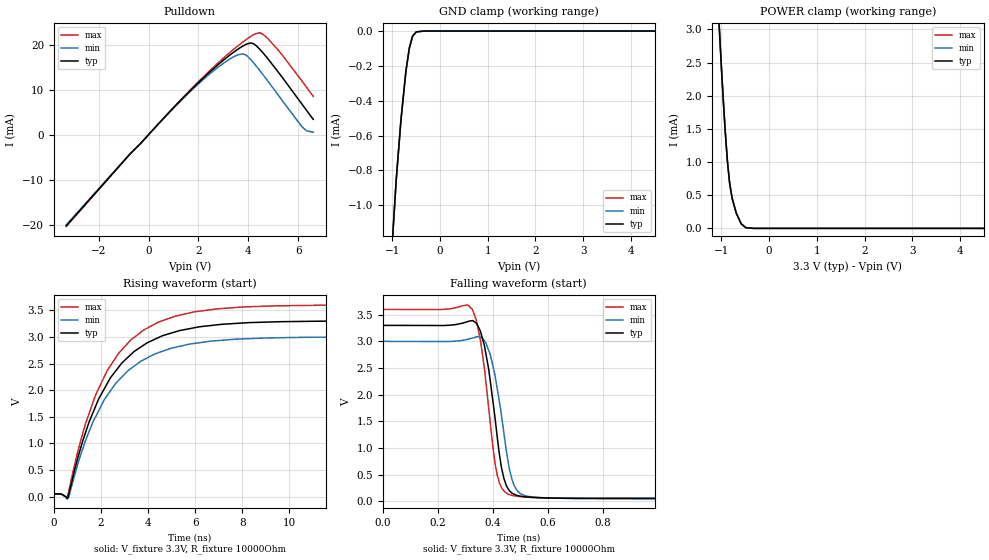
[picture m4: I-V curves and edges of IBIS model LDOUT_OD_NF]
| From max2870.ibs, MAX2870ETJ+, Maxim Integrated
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|   LDOUT_OD_NF Model
[Model]   LDOUT_OD_NF
Model_type   Open_drain
Polarity   Non-Inverting
Vmeas = 1.65
Vref = 3.3
Cref = 10pF
Rref = 10000
|   typ   min   max
|C_comp values with magnitude order
C_comp   3.842e-15   3.842e-15   3.842e-15
|C_comp values with real corner order
|C_comp   3.842e-15   3.842e-15   3.842e-15
|C_comp (ON state)   3.842e-15   3.842e-15   3.842e-15
|C_comp (OFF state)   3.844e-15   3.843e-15   3.844e-15
[Voltage Range]   3.3   3   3.6
[Temperature Range]   27   110   -40
[Pullup Reference]   3.3   3   3.6
[Pulldown Reference]   0   0   0
[Power Clamp Reference]   3.3   3   3.6
[GND Clamp Reference]   0   0   0
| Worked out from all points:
|   slope of the pulldown table from 0 to 0.495 V, typ, clamps not added: 165 ohm
|   GND clamp passes 1 mA (typ) near -0.95 V on its own axis
|   POWER clamp passes 1 mA (typ) near -0.87 V on its own axis
|   falling waveform, V_fixture 3.3V, R_fixture 10000Ohm: 20-80 % time 50.4ps typ, 52.9ps min, 48.3ps max; typ from 3.3 V to 0.053 V
|   rising waveform, V_fixture 3.3V, R_fixture 10000Ohm: 20-80 % time 2.22ns typ, 2.24ns min, 2.19ns max; typ from 0.053 V to 3.3 V
[Pulldown]
|   Voltage   I(typ)   I(min)   I(max)
-3.3V     -20.26mA   -20.05mA   -20.41mA
-723mV    -4.15mA    -4.105mA   -4.183mA
1.251V    7.457mA    7.326mA    7.553mA
2.559V    14.48mA    14.01mA    14.81mA
3.516V    18.77mA    17.62mA    19.48mA
3.792V    19.78mA    17.95mA    20.68mA
4.116V    20.4mA     16.57mA    21.95mA
4.447V    19.06mA    14.34mA    22.66mA
4.58V     18.23mA    13.39mA    22.33mA
5.227V    13.71mA    8.58mA     18.6mA
6.138V    6.868mA    1.831mA    12mA
6.6V      3.423mA    558.5uA    8.545mA
[GND Clamp]
|   Voltage   I(typ)   I(min)   I(max)
-3.3V     -17.18mA   -17.18mA   -17.18mA
-1.005V   -1.225mA   -1.227mA   -1.224mA
-924mV    -870uA     -871.2uA   -868.8uA
-823.2mV  -518.9uA   -519.8uA   -517.9uA
-715.2mV  -228.2uA   -228.9uA   -227.5uA
-643.5mV  -96.29uA   -96.73uA   -95.88uA
-578.4mV  -30.9uA    -31.09uA   -30.7uA
-498mV    -4.841uA   -4.876uA   -4.807uA
-312mV    -20.63nA   -20.8nA    -20.4nA
6.6V      0A         0A         0A
[POWER Clamp]
|   Voltage   I(typ)   I(min)   I(max)
-3.3V     37.76mA    37.77mA    37.76mA
-1.082V   3.525mA    3.53mA     3.521mA
-990mV    2.286mA    2.29mA     2.282mA
-927.3mV  1.535mA    1.538mA    1.531mA
-877.8mV  1.042mA    1.045mA    1.039mA
-826.8mV  677.3uA    679uA      675.5uA
-774mV    448.9uA    449.9uA    447.9uA
-686.4mV  224.6uA    225.3uA    224uA
-585.6mV  69.49uA    69.79uA    69.16uA
-492mV    11.8uA     11.87uA    11.71uA
-297.6mV  48.29nA    48.77nA    47.76nA
6.6V      0A         0A         0A
[Ramp]
R_load = 10000
|   typ   min   max
dV/dt_r 1.9483E+00/2.2232E-09   1.7708E+00/2.2443E-09   2.1256E+00/2.1904E-09
dV/dt_f 1.9483E+00/5.0429E-11   1.7708E+00/5.2864E-11   2.1256E+00/4.8263E-11
[Falling Waveform]
V_fixture = 3.3V
V_fixture_min = 3V
V_fixture_max = 3.6V
R_fixture = 10000Ohm
|   Time   V(typ)   V(min)   V(max)
0s        3.3V       3V         3.6V
325.9ps   3.389V     3.064V     3.597V
354.8ps   3.192V     3.077V     3.025V
369.1ps   2.926V     3.008V     2.501V
408.7ps   1.53V      2.336V     688.5mV
434.3ps   563.2mV    1.497V     231.4mV
459.2ps   204.7mV    628.7mV    127.7mV
487.5ps   111.2mV    204.7mV    94.08mV
682.8ps   55.46mV    52.92mV    58.83mV
150ns     52.9mV     48.6mV     57.27mV
[Rising Waveform]
V_fixture = 3.3V
V_fixture_min = 3V
V_fixture_max = 3.6V
R_fixture = 10000Ohm
|   Time   V(typ)   V(min)   V(max)
0s        52.9mV     48.6mV     57.27mV
563.8ps   -33.41mV   -19.33mV   -18.82mV
636ps     48.71mV    1.757mV    107.3mV
1.105ns   864mV      739.2mV    998.6mV
1.77ns    1.695V     1.498V     1.907V
2.398ns   2.23V      1.984V     2.457V
3.27ns    2.669V     2.407V     2.944V
5.144ns   3.093V     2.804V     3.388V
8.032ns   3.261V     2.963V     3.562V
150ns     3.3V       3V         3.6V
